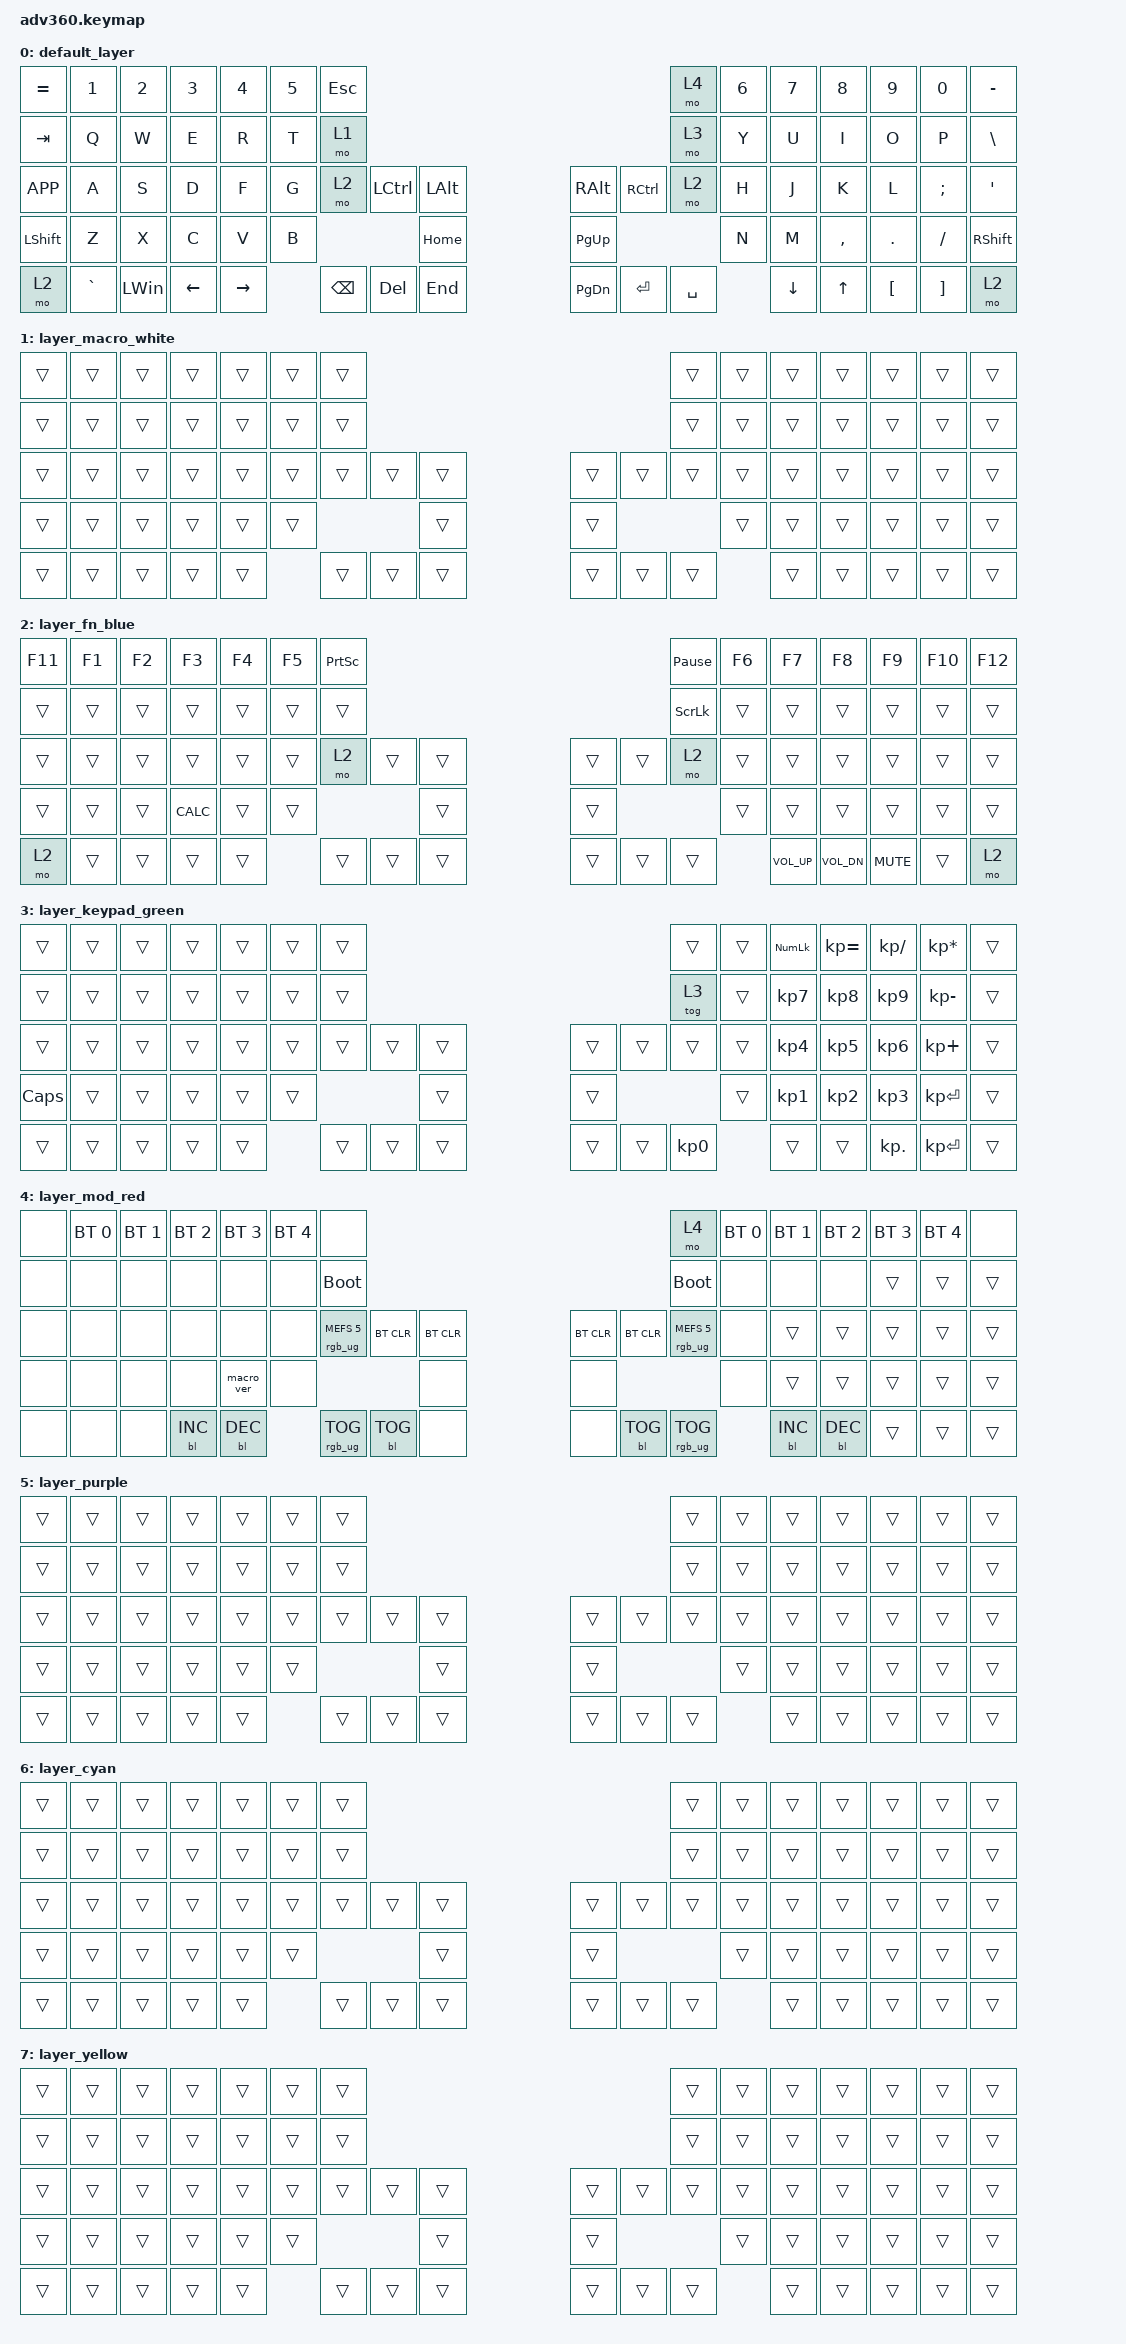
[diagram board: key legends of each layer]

/*
 * Copyright (c) 2020 The ZMK Contributors
 *
 * SPDX-License-Identifier: MIT
 */


/* THIS FILE WAS GENERATED!
 *
 * This file was generated automatically. You may or may not want to
 * edit it directly.
 */

#include <behaviors.dtsi>
#include <dt-bindings/zmk/keys.h>
#include <dt-bindings/zmk/bt.h>
#include <dt-bindings/zmk/rgb.h>
#include <dt-bindings/zmk/backlight.h>

/ {
  behaviors {
    #include "macros.dtsi"
    #include "version.dtsi"

    hm: homerow_mods {
        compatible = "zmk,behavior-hold-tap";
        label = "HOMEROW_MODS";
        #binding-cells = <2>;
        tapping-term-ms = <200>;
        quick_tap_ms = <175>;
        flavor = "tap-preferred";
        bindings = <&kp>, <&kp>;
    };
  };

    keymap {
        compatible = "zmk,keymap";


        default_layer {
            bindings = <
 &kp EQUAL     &kp N1        &kp N2    &kp N3     &kp N4  &kp N5             &kp ESC                                                                     &mo 4  &kp N6    &kp N7     &kp N8    &kp N9    &kp N0  &kp MINUS
   &kp TAB      &kp Q         &kp W     &kp E      &kp R   &kp T               &mo 1                                                                     &mo 3   &kp Y     &kp U      &kp I     &kp O     &kp P   &kp BSLH
 &kp K_APP      &kp A         &kp S     &kp D      &kp F   &kp G               &mo 2  &kp LCTRL  &kp LALT                  &kp RIGHT_ALT  &kp RCTRL      &mo 2   &kp H     &kp J      &kp K     &kp L  &kp SEMI    &kp SQT
 &kp LSHFT      &kp Z         &kp X     &kp C      &kp V   &kp B                                 &kp HOME                      &kp PG_UP                         &kp N     &kp M  &kp COMMA   &kp DOT  &kp FSLH  &kp RSHFT
     &mo 2  &kp GRAVE  &kp LEFT_WIN  &kp LEFT  &kp RIGHT                    &kp BSPC    &kp DEL   &kp END                      &kp PG_DN  &kp ENTER  &kp SPACE          &kp DOWN     &kp UP  &kp LBKT  &kp RBKT      &mo 2
            >;
        };

        layer_macro_white {
            bindings = <
 &trans  &trans  &trans  &trans  &trans  &trans            &trans                                                  &trans  &trans  &trans  &trans  &trans  &trans  &trans
 &trans  &trans  &trans  &trans  &trans  &trans            &trans                                                  &trans  &trans  &trans  &trans  &trans  &trans  &trans
 &trans  &trans  &trans  &trans  &trans  &trans            &trans  &trans  &trans                  &trans  &trans  &trans  &trans  &trans  &trans  &trans  &trans  &trans
 &trans  &trans  &trans  &trans  &trans  &trans                            &trans                  &trans                  &trans  &trans  &trans  &trans  &trans  &trans
 &trans  &trans  &trans  &trans  &trans                    &trans  &trans  &trans                  &trans  &trans  &trans          &trans  &trans  &trans  &trans  &trans
            >;
        };

        layer_fn_blue {
            bindings = <
 &kp F11  &kp F1  &kp F2      &kp F3  &kp F4  &kp F5            &kp PSCRN                                                  &kp PAUSE_BREAK  &kp F6        &kp F7        &kp F8      &kp F9  &kp F10  &kp F12
  &trans  &trans  &trans      &trans  &trans  &trans               &trans                                                   &kp SCROLLLOCK  &trans        &trans        &trans      &trans   &trans   &trans
  &trans  &trans  &trans      &trans  &trans  &trans                &mo 2  &trans  &trans                  &trans  &trans            &mo 2  &trans        &trans        &trans      &trans   &trans   &trans
  &trans  &trans  &trans  &kp K_CALC  &trans  &trans                               &trans                  &trans                           &trans        &trans        &trans      &trans   &trans   &trans
   &mo 2  &trans  &trans      &trans  &trans                       &trans  &trans  &trans                  &trans  &trans           &trans          &kp C_VOL_UP  &kp C_VOL_DN  &kp C_MUTE   &trans    &mo 2
            >;
        };

        layer_keypad_green {
            bindings = <
   &trans  &trans  &trans  &trans  &trans  &trans            &trans                                                           &trans  &trans       &kp KP_NUM     &kp KP_EQUAL     &kp KP_SLASH  &kp KP_MULTIPLY  &trans
   &trans  &trans  &trans  &trans  &trans  &trans            &trans                                                           &tog 3  &trans  &kp KP_NUMBER_7  &kp KP_NUMBER_8  &kp KP_NUMBER_9     &kp KP_MINUS  &trans
   &trans  &trans  &trans  &trans  &trans  &trans            &trans  &trans  &trans                  &trans  &trans           &trans  &trans  &kp KP_NUMBER_4  &kp KP_NUMBER_5  &kp KP_NUMBER_6      &kp KP_PLUS  &trans
 &kp CAPS  &trans  &trans  &trans  &trans  &trans                            &trans                  &trans                           &trans  &kp KP_NUMBER_1  &kp KP_NUMBER_2  &kp KP_NUMBER_3     &kp KP_ENTER  &trans
   &trans  &trans  &trans  &trans  &trans                    &trans  &trans  &trans                  &trans  &trans  &kp KP_NUMBER_0                   &trans           &trans       &kp KP_DOT     &kp KP_ENTER  &trans
            >;
        };

        layer_mod_red {
            bindings = <
  &none  &bt BT_SEL 0  &bt BT_SEL 1  &bt BT_SEL 2  &bt BT_SEL 3  &bt BT_SEL 4                             &none                                                                                   &mo 4  &bt BT_SEL 0  &bt BT_SEL 1  &bt BT_SEL 2  &bt BT_SEL 3  &bt BT_SEL 4   &none
  &none         &none         &none         &none         &none         &none                       &bootloader                                                                             &bootloader         &none         &none         &none        &trans        &trans  &trans
  &none         &none         &none         &none         &none         &none            &rgb_ug RGB_MEFS_CMD 5  &bt BT_CLR  &bt BT_CLR                  &bt BT_CLR  &bt BT_CLR  &rgb_ug RGB_MEFS_CMD 5         &none        &trans        &trans        &trans        &trans  &trans
  &none         &none         &none         &none    &macro_ver         &none                                                     &none                       &none                                             &none        &trans        &trans        &trans        &trans  &trans
  &none         &none         &none    &bl BL_INC    &bl BL_DEC                                 &rgb_ug RGB_TOG  &bl BL_TOG       &none                       &none  &bl BL_TOG         &rgb_ug RGB_TOG                  &bl BL_INC    &bl BL_DEC        &trans        &trans  &trans
            >;
        };

        layer_purple {
            bindings = <
 &trans  &trans  &trans  &trans  &trans  &trans            &trans                                                  &trans  &trans  &trans  &trans  &trans  &trans  &trans
 &trans  &trans  &trans  &trans  &trans  &trans            &trans                                                  &trans  &trans  &trans  &trans  &trans  &trans  &trans
 &trans  &trans  &trans  &trans  &trans  &trans            &trans  &trans  &trans                  &trans  &trans  &trans  &trans  &trans  &trans  &trans  &trans  &trans
 &trans  &trans  &trans  &trans  &trans  &trans                            &trans                  &trans                  &trans  &trans  &trans  &trans  &trans  &trans
 &trans  &trans  &trans  &trans  &trans                    &trans  &trans  &trans                  &trans  &trans  &trans          &trans  &trans  &trans  &trans  &trans
            >;
        };

        layer_cyan {
            bindings = <
 &trans  &trans  &trans  &trans  &trans  &trans            &trans                                                  &trans  &trans  &trans  &trans  &trans  &trans  &trans
 &trans  &trans  &trans  &trans  &trans  &trans            &trans                                                  &trans  &trans  &trans  &trans  &trans  &trans  &trans
 &trans  &trans  &trans  &trans  &trans  &trans            &trans  &trans  &trans                  &trans  &trans  &trans  &trans  &trans  &trans  &trans  &trans  &trans
 &trans  &trans  &trans  &trans  &trans  &trans                            &trans                  &trans                  &trans  &trans  &trans  &trans  &trans  &trans
 &trans  &trans  &trans  &trans  &trans                    &trans  &trans  &trans                  &trans  &trans  &trans          &trans  &trans  &trans  &trans  &trans
            >;
        };

        layer_yellow {
            bindings = <
 &trans  &trans  &trans  &trans  &trans  &trans            &trans                                                  &trans  &trans  &trans  &trans  &trans  &trans  &trans
 &trans  &trans  &trans  &trans  &trans  &trans            &trans                                                  &trans  &trans  &trans  &trans  &trans  &trans  &trans
 &trans  &trans  &trans  &trans  &trans  &trans            &trans  &trans  &trans                  &trans  &trans  &trans  &trans  &trans  &trans  &trans  &trans  &trans
 &trans  &trans  &trans  &trans  &trans  &trans                            &trans                  &trans                  &trans  &trans  &trans  &trans  &trans  &trans
 &trans  &trans  &trans  &trans  &trans                    &trans  &trans  &trans                  &trans  &trans  &trans          &trans  &trans  &trans  &trans  &trans
            >;
        };

    };
};
